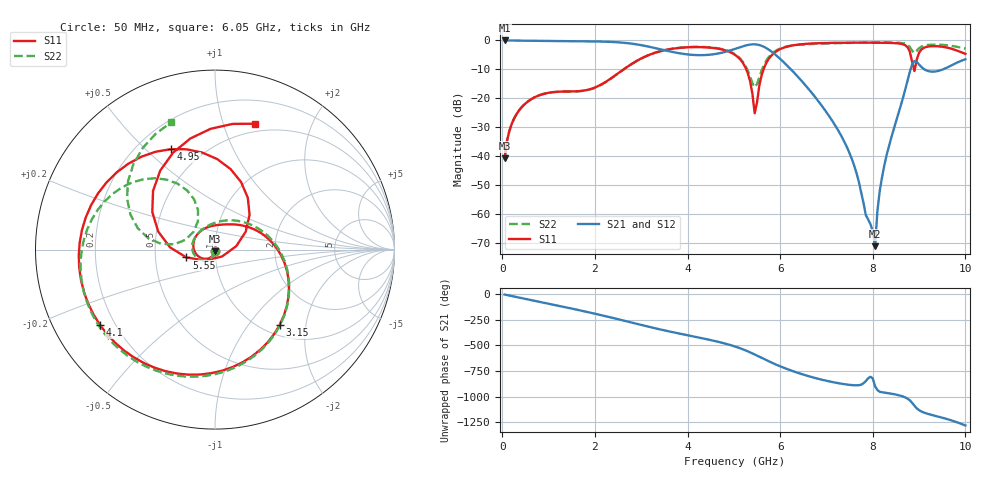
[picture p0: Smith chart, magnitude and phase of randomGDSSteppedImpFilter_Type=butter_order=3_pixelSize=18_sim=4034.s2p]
! freq	dB(S11)	phase(S11)	dB(S12)	phase(S12)
!  dB(S21)	phase(S21)	dB(S22)	phase(S22)
!S-par simulation data
#  GHz  S  DB  R 50
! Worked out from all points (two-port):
!   200 points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, 50 MHz to 10 GHz, reference 50 ohm
!   highest |S21| = -0.01 dB at 50 MHz (marker M1); lowest = -71.2 dB at 8.05 GHz (marker M2)
!   |S21| within 3 dB of the highest: start of sweep to 3.399 GHz; 5.009 GHz to 5.737 GHz (727.6 MHz wide, 13.5 % of centre)
!   lowest |S11| = -40.8 dB at 50 MHz (marker M3), VSWR 1.02, Z = 50 - j0.909 ohm
!   |S11| at or under -10 dB: start of sweep to 2.621 GHz; 5.267 GHz to 5.641 GHz (374 MHz wide, 6.86 % of centre); 8.890564 GHz to 8.907437 GHz (16.87 MHz wide, 0.19 % of centre)
!   |S22| runs from -40.8 to -0.7 dB; largest |S21 - S12| = 0
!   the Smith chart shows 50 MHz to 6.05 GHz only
!   S11 on the Smith chart (normalised r, x): 50 MHz: 1.00, -0.02; 3.15 GHz: 1.19, -1.43; 4.1 GHz: 0.14, -0.29; 4.95 GHz: 0.34, +0.60; 5.55 GHz: 0.72, -0.06; 6.05 GHz: 0.42, +1.28
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0.05  -40.82 -90.8  -0.01 -4.8  -0.01 -4.8  -40.82 -89.9
0.3  -25.71 -120.2  -0.06 -28.2  -0.06 -28.2  -25.69 -115.2
0.9  -18.47 177.1  -0.17 -84.3  -0.17 -84.3  -18.46 -167.0
1.75  -17.38 89.6  -0.29 -166.5  -0.29 -166.5  -17.44 115.9
2.55  -10.81 15.5  -0.71 109.2  -0.71 109.2  -10.87 20.3
3.15  -5.14 -49.3  -2.11 42.2  -2.11 42.2  -5.14 -48.7
3.4  -3.79 -76.3  -3.01 15.7  -3.01 15.7  -3.77 -74.6
4.1  -2.31 -146.9  -4.99 -51.2  -4.99 -51.2  -2.25 -137.4
4.95  -4.28 113.7  -3.32 -141.1  -3.32 -141.1  -4.10 146.2
5.05  -5.27 97.4  -2.79 -155.5  -2.79 -155.5  -5.05 135.4
5.45  -25.20 -44.8  -1.35 130.3  -1.35 130.3  -16.19 140.8
5.55  -15.62 -164.8  -1.60 108.2  -1.60 108.2  -12.71 172.7
6.05  -2.67 72.4  -7.12 5.7  -7.12 5.7  -2.50 108.9
6.7  -1.05 -24.7  -18.49 -92.6  -18.49 -92.6  -1.21 7.5
7.5  -0.78 -97.9  -39.08 -166.6  -39.08 -166.6  -0.85 -81.7
8.05  -0.78 -135.9  -71.20 178.8  -71.20 178.8  -0.75 -122.2
8.35  -0.85 -157.0  -36.55 111.0  -36.55 111.0  -0.75 -141.3
8.8  -3.87 149.2  -10.88 42.3  -10.88 42.3  -2.24 -176.2
8.9  -10.58 178.4  -7.14 -10.5  -7.14 -10.5  -4.36 -169.0
9.3  -1.99 150.5  -10.82 -103.4  -10.82 -103.4  -1.45 175.7
9.7  -2.86 88.8  -8.64 -153.2  -8.64 -153.2  -1.87 148.7
10  -4.64 12.3  -6.53 157.4  -6.53 157.4  -2.83 126.8
